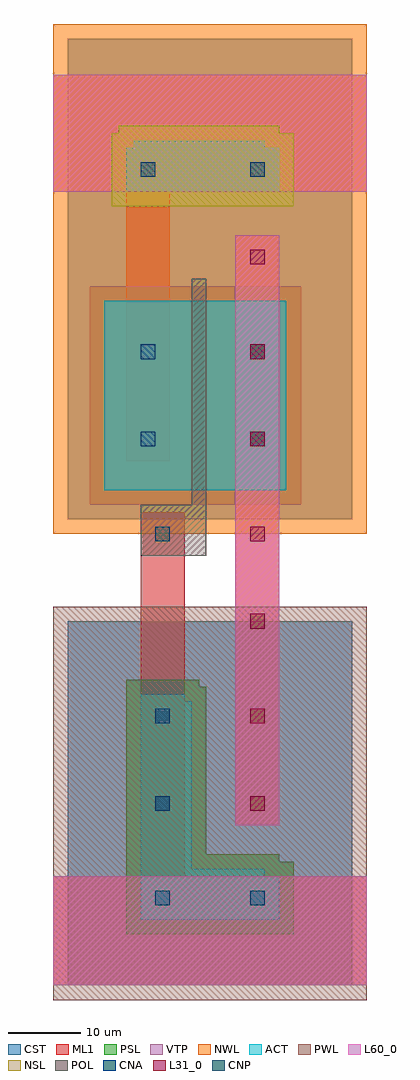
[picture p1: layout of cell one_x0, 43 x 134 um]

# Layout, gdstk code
import gdstk
lib = gdstk.Library(unit=1e-6, precision=1e-09)
def R(c, l, rs):  # rectangles x0, y0, x1, y1
    for r in rs: c.add(gdstk.rectangle(r[:2], r[2:], *l))
NWL = (1, 0)
PWL = (2, 0)
CST = (3, 0)
ACT = (4, 0)
VTP = (6, 0)
POL = (7, 0)
NSL = (8, 0)
PSL = (9, 0)
CNA = (10, 0)
CNP = (11, 0)
ML1 = (12, 0)
L31_0 = (31, 0)
L60_0 = (60, 0)

one_x0 = lib.new_cell('one_x0')
R(one_x0, NWL, [(-3,62,40,132)])
R(one_x0, PWL, [(-3,-2,40,52)])
R(one_x0, CST, [(-1,0,38,50), (-1,0,38,50), (-1,64,38,130), (-1,64,38,130)])
R(one_x0, ACT, [(9,9,15,15), (11,9,26,16), (11,9,26,16), (22,9,28,15), (9,11,16,39), (9,11,16,39), (9,22,15,28), (9,34,15,40), (4,68,14,94), (4,68,14,94), (9,68,25,94), (9,68,25,94), (21,68,29,94), (21,68,29,94), (7,72,13,78), (22,72,28,78), (7,84,13,90), (22,84,28,90), (7,109,13,115), (8,109,26,116), (8,109,26,116), (22,109,28,115)])
R(one_x0, VTP, [(2,66,16,96), (2,66,16,96), (7,66,27,96), (7,66,27,96), (19,66,31,96), (19,66,31,96), (5,70,15,80), (20,70,30,80), (5,82,15,92), (20,82,30,92)])
R(one_x0, POL, [(9,59,16,66), (11,59,18,66), (11,59,18,66), (16,59,18,66), (16,59,18,66), (16,65,18,97), (16,65,18,97)])
R(one_x0, NSL, [(5,107,30,117), (6,107,28,118)])
R(one_x0, PSL, [(7,7,18,41), (7,7,17,42), (7,7,30,17), (7,7,28,18), (9,7,17,42), (9,7,18,41), (9,7,28,18), (7,9,18,41), (7,9,30,17), (7,9,28,18), (2,66,31,96)])
R(one_x0, CNA, [(11,11,13,13), (24,11,26,13), (11,24,13,26), (11,36,13,38), (9,74,11,76), (24,74,26,76), (9,86,11,88), (24,86,26,88), (9,111,11,113), (24,111,26,113)])
R(one_x0, CNP, [(11,61,13,63)])
R(one_x0, ML1, [(-3,0,40,15), (9,4,15,65), (9,4,15,65), (9,9,15,15), (22,9,28,15), (9,22,15,28), (22,22,28,103), (22,22,28,103), (22,22,28,103), (9,34,15,40), (9,59,15,65), (7,72,13,78), (7,72,13,120), (7,72,13,120), (22,72,28,78), (7,84,13,90), (22,84,28,90), (-3,109,40,125), (7,109,13,115), (22,109,28,115)])
R(one_x0, L31_0, [(24,24,26,26), (24,36,26,38), (24,49,26,51), (24,61,26,63), (24,74,26,76), (24,86,26,88), (24,99,26,101)])
R(one_x0, L60_0, [(-3,0,40,15), (22,22,28,103), (-3,109,40,125)])

lib.write_gds('one_x0.gds')
